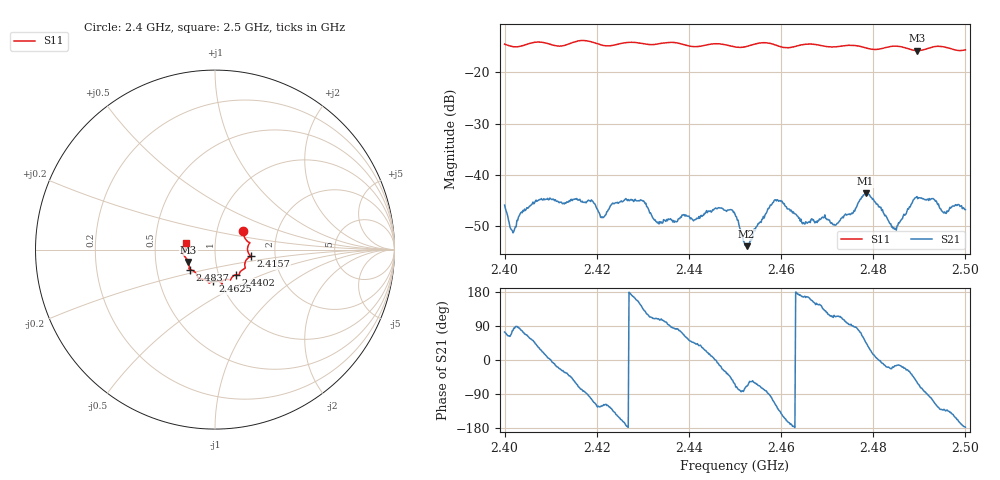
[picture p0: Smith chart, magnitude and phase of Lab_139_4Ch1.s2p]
# Hz S RI R 50
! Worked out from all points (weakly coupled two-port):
!   601 points, 2.4 GHz to 2.5 GHz, reference 50 ohm
!   highest |S21| = -43.63 dB at 2.4783 GHz (marker M1); lowest = -54.0 dB at 2.4525 GHz (marker M2)
!   lowest |S11| = -15.7 dB at 2.4895 GHz (marker M3), VSWR 1.39, Z = 36.8 - j5.16 ohm
!   |S11| at or under -10 dB: start of sweep to end of sweep
!   S12 and S22 are empty: the file has one direction only
!   S11 on the Smith chart (normalised r, x): 2.4 GHz: 1.33, +0.29; 2.4157 GHz: 1.49, -0.11; 2.4402 GHz: 1.20, -0.35; 2.4625 GHz: 0.92, -0.34; 2.4837 GHz: 0.74, -0.17; 2.5 GHz: 0.72, +0.05
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2.4e9  0.1567 0.1058  0.00141 0.00485  0 0  0 0
2.401833e9  0.1605 0.0782  0.000564 0.00265  0 0  0 0
2.407167e9  0.1947 0.0383  0.00451 0.00329  0 0  0 0
2.415667e9  0.1986 -0.0365  0.00251 -0.00529  0 0  0 0
2.416667e9  0.2014 -0.0398  0.0012 -0.00529  0 0  0 0
2.421333e9  0.1749 -0.0565  -0.00191 -0.00328  0 0  0 0
2.423667e9  0.1657 -0.0817  -0.00376 -0.00359  0 0  0 0
2.429667e9  0.1587 -0.1095  -0.00452 0.00339  0 0  0 0
2.433333e9  0.1356 -0.1336  -0.00112 0.00326  0 0  0 0
2.440167e9  0.1142 -0.1403  0.00241 0.00296  0 0  0 0
2.45e9  0.0641 -0.1658  0.00181 -0.00369  0 0  0 0
2.4525e9  0.0427 -0.1743  0.000726 -0.00187  0 0  0 0
2.458667e9  0.032 -0.1838  -0.00241 -0.00515  0 0  0 0
2.4625e9  -0.01 -0.1769  -0.00422 -0.000357  0 0  0 0
2.466667e9  -0.0334 -0.1865  -0.00343 0.00144  0 0  0 0
2.471833e9  -0.0663 -0.1652  -0.00132 0.00293  0 0  0 0
2.478333e9  -0.101 -0.1419  0.00447 0.00484  0 0  0 0
2.483333e9  -0.1382 -0.1121  0.00334 -0.00112  0 0  0 0
2.483667e9  -0.1402 -0.1117  0.00308 -0.00126  0 0  0 0
2.484833e9  -0.1441 -0.1095  0.00289 -0.000783  0 0  0 0
2.4895e9  -0.1484 -0.0683  0.00319 -0.00523  0 0  0 0
2.5e9  -0.1626 0.0362  -0.00456 -0.000199  0 0  0 0
